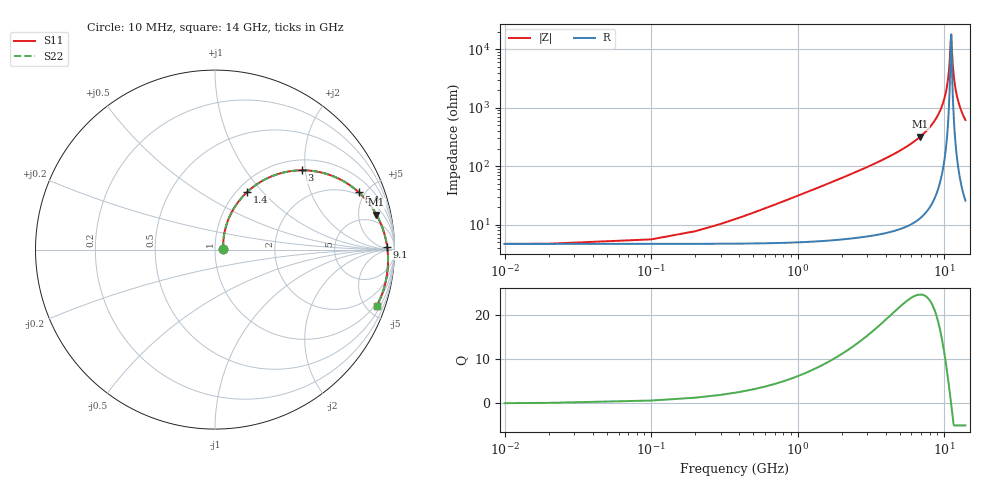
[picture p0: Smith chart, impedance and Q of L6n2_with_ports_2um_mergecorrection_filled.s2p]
#  GHZ S DB R 50.0
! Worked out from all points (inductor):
!   142 points, 10 MHz to 14 GHz, reference 50 ohm
!   read as one part in series: L = 4.86 nH near 500 MHz
!   highest Q = 24.7 at 6.9 GHz (marker M1), where L = 7.39 nH
!   self-resonance near 11.1 GHz
!   S11 on the Smith chart (normalised r, x): 10 MHz: 1.09, +0.01; 1.4 GHz: 1.11, +0.83; 3 GHz: 1.24, +1.92; 5.4 GHz: 1.81, +4.52; 9.1 GHz: 41, +17; 14 GHz: 0.82, -5.82
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0.01  -26.97 3.2  -0.40 -0.2  -0.40 -0.2  -26.97 3.2
0.6  -15.48 65.9  -0.58 -10.6  -0.58 -10.6  -15.48 65.8
1  -11.31 64.8  -0.83 -17.1  -0.83 -17.1  -11.31 64.8
1.4  -8.68 60.8  -1.18 -23.4  -1.18 -23.4  -8.68 60.8
2.4  -4.94 49.0  -2.35 -37.3  -2.35 -37.3  -4.94 49.0
3  -3.67 42.4  -3.22 -44.5  -3.22 -44.5  -3.67 42.4
4.7  -1.71 26.9  -6.10 -60.7  -6.10 -60.7  -1.71 26.9
5.4  -1.28 21.7  -7.45 -66.0  -7.45 -66.0  -1.29 21.7
6.9  -0.72 12.2  -10.74 -75.6  -10.74 -75.6  -0.72 12.2
7.1  -0.67 11.1  -11.24 -76.7  -11.24 -76.7  -0.67 11.1
9.1  -0.36 1.0  -17.81 -86.0  -17.81 -86.0  -0.36 1.0
9.4  -0.34 -0.4  -19.26 -87.0  -19.26 -87.0  -0.34 -0.4
10.1  -0.30 -3.5  -23.77 -88.3  -23.77 -88.3  -0.30 -3.5
10.6  -0.28 -5.7  -29.20 -86.4  -29.20 -86.4  -0.28 -5.7
10.9  -0.28 -6.9  -35.20 -78.7  -35.20 -78.7  -0.28 -6.9
11.1  -0.28 -7.8  -42.82 -50.0  -42.82 -50.0  -0.28 -7.7
11.2  -0.28 -8.2  -45.37 1.5  -45.37 1.5  -0.28 -8.2
11.4  -0.28 -9.0  -37.44 58.0  -37.44 58.0  -0.28 -9.0
11.7  -0.28 -10.2  -30.53 69.8  -30.53 69.8  -0.28 -10.2
12  -0.29 -11.4  -26.70 72.2  -26.70 72.2  -0.29 -11.4
12.5  -0.31 -13.4  -22.68 72.6  -22.68 72.6  -0.31 -13.4
14  -0.40 -19.1  -16.37 68.8  -16.37 68.8  -0.40 -19.1
